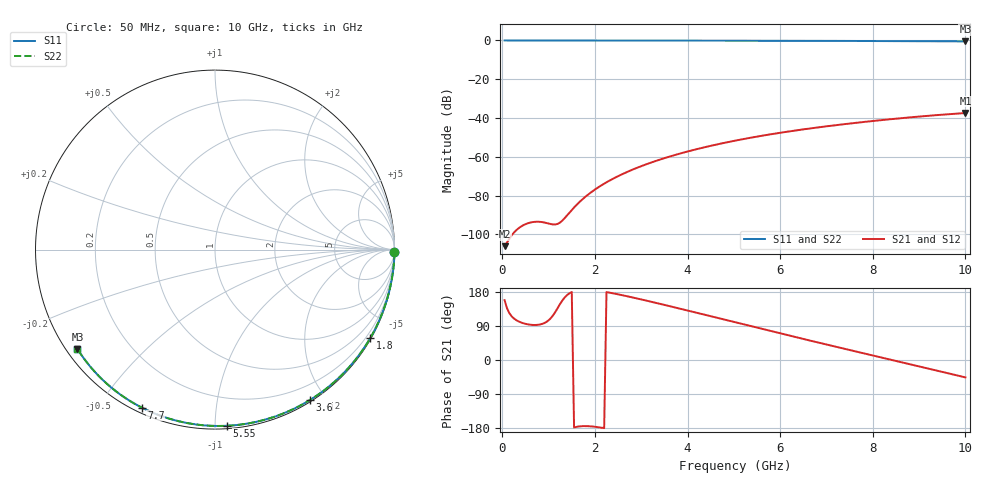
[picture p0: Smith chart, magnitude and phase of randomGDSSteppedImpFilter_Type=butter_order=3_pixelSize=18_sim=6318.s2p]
! freq	dB(S11)	phase(S11)	dB(S12)	phase(S12)
!  dB(S21)	phase(S21)	dB(S22)	phase(S22)
!S-par simulation data
#  GHz  S  DB  R 50
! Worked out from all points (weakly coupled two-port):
!   200 points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, 50 MHz to 10 GHz, reference 50 ohm
!   highest |S21| = -37.43 dB at 10 GHz (marker M1); lowest = -106.0 dB at 50 MHz (marker M2)
!   lowest |S11| = -0.5 dB at 10 GHz (marker M3), VSWR 35.61, Z = 1.55 - j16.1 ohm
!   |S11| at or under -10 dB: nowhere
!   |S22| runs from -0.5 to 0.0 dB; largest |S21 - S12| = 0
!   S11 on the Smith chart (normalised r, x): 50 MHz: open; 1.8 GHz: 0.03, -3.78; 3.6 GHz: 0.02, -1.81; 5.55 GHz: 0.02, -1.07; 7.7 GHz: 0.02, -0.64; 10 GHz: 0.03, -0.32
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0.05  -0.00 -0.8  -106.03 157.9  -106.03 157.9  -0.00 -0.8
0.45  -0.01 -7.5  -95.27 97.1  -95.27 97.1  -0.01 -7.5
0.9  -0.02 -15.0  -93.78 97.0  -93.78 97.0  -0.02 -15.0
1.3  -0.03 -21.5  -92.75 157.6  -92.75 157.6  -0.03 -21.5
1.75  -0.04 -28.9  -81.47 -174.5  -81.47 -174.5  -0.04 -28.9
1.8  -0.04 -29.7  -80.45 -174.4  -80.45 -174.4  -0.04 -29.7
1.85  -0.04 -30.5  -79.49 -174.6  -79.49 -174.6  -0.04 -30.5
2.05  -0.04 -33.7  -76.04 -176.9  -76.04 -176.9  -0.04 -33.7
2.2  -0.05 -36.1  -73.80 -179.7  -73.80 -179.7  -0.05 -36.1
2.5  -0.05 -40.8  -69.95 173.3  -69.95 173.3  -0.05 -40.8
2.9  -0.06 -47.1  -65.72 162.7  -65.72 162.7  -0.06 -47.1
3.4  -0.07 -54.8  -61.42 148.4  -61.42 148.4  -0.07 -54.8
3.6  -0.08 -57.9  -59.93 142.5  -59.93 142.5  -0.08 -57.9
4.3  -0.10 -68.3  -55.43 121.6  -55.43 121.6  -0.10 -68.3
5.05  -0.12 -79.1  -51.53 99.0  -51.53 99.0  -0.12 -79.1
5.55  -0.14 -86.2  -49.34 83.9  -49.34 83.9  -0.14 -86.2
6.1  -0.17 -93.7  -47.21 67.4  -47.21 67.4  -0.17 -93.7
6.7  -0.20 -101.8  -45.18 49.6  -45.18 49.6  -0.20 -101.8
7.7  -0.26 -114.9  -42.28 20.6  -42.28 20.6  -0.26 -114.9
8.35  -0.31 -123.3  -40.66 2.0  -40.66 2.0  -0.31 -123.3
9.2  -0.40 -134.1  -38.82 -22.5  -38.82 -22.5  -0.40 -134.1
10  -0.49 -144.2  -37.43 -46.0  -37.43 -46.0  -0.49 -144.2
